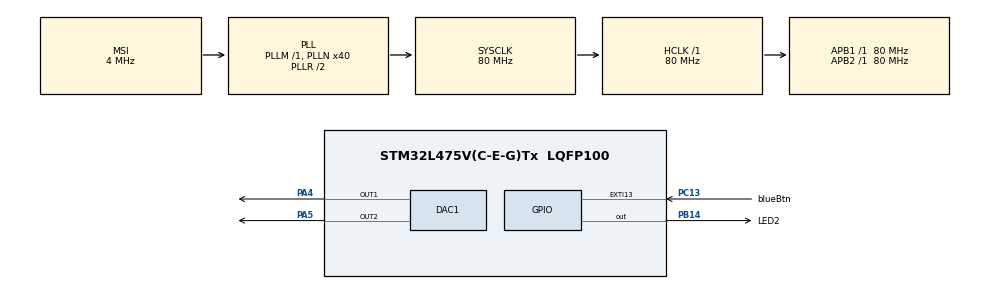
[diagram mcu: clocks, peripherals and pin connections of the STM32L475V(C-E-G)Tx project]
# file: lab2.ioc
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ADC1.Channel-1\#ChannelRegularConversion=ADC_CHANNEL_VREFINT
ADC1.NbrOfConversionFlag=1
ADC1.OffsetNumber-1\#ChannelRegularConversion=ADC_OFFSET_NONE
ADC1.Rank-1\#ChannelRegularConversion=1
ADC1.SamplingTime-1\#ChannelRegularConversion=ADC_SAMPLETIME_640CYCLES_5
ADC1.master=1
ADC3.Channel-0\#ChannelRegularConversion=ADC_CHANNEL_TEMPSENSOR
ADC3.NbrOfConversionFlag=1
ADC3.OffsetNumber-0\#ChannelRegularConversion=ADC_OFFSET_NONE
ADC3.Rank-0\#ChannelRegularConversion=1
ADC3.SamplingTime-0\#ChannelRegularConversion=ADC_SAMPLETIME_640CYCLES_5
DAC1.DAC_Channel-DAC_OUT2=DAC_CHANNEL_2
Mcu.Family=STM32L4
Mcu.Name=STM32L475V(C-E-G)Tx
Mcu.Package=LQFP100
NVIC.PriorityGroup=NVIC_PRIORITYGROUP_4
PA13\ (JTMS-SWDIO).Signal=SYS_JTMS-SWDIO
PA4.Signal=COMP_DAC11_group
PA5.Signal=COMP_DAC12_group
PB14.GPIO_Label=LED2
PB14.Signal=GPIO_Output
PB3\ (JTDO-TRACESWO).Signal=SYS_JTDO-SWO
PC13.GPIO_Label=blueBtn
PC13.Signal=GPXTI13
ProjectManager.HeapSize=0x200
ProjectManager.StackSize=0x400
ProjectManager.TargetToolchain=STM32CubeIDE
RCC.ADCFreq_Value=48000000
RCC.AHBFreq_Value=80000000
RCC.APB1Freq_Value=80000000
RCC.APB1TimFreq_Value=80000000
RCC.APB2Freq_Value=80000000
RCC.APB2TimFreq_Value=80000000
RCC.CortexFreq_Value=80000000
RCC.HCLKFreq_Value=80000000
RCC.HSE_VALUE=8000000
RCC.HSI_VALUE=16000000
RCC.LSE_VALUE=32768
RCC.MSI_VALUE=4000000
RCC.PLLN=40
RCC.PLLSAI1N=24
RCC.SYSCLKFreq_VALUE=80000000
RCC.SYSCLKSource=RCC_SYSCLKSOURCE_PLLCLK
RCC.USBFreq_Value=48000000
RCC.VCOOutputFreq_Value=160000000
SH.COMP_DAC11_group.0=DAC1_OUT1,DAC_OUT1
SH.COMP_DAC12_group.0=DAC1_OUT2,DAC_OUT2
VP_ADC1_Vref_Input.Mode=IN-Vrefint
VP_ADC3_TempSens_Input.Mode=IN-TempSens
board=B-L475E-IOT01A1

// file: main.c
/* USER CODE BEGIN Header */
/**
  ******************************************************************************
  * @file           : main.c
  * @brief          : Main program body
  ******************************************************************************
  * @attention
  *
  * Copyright (c) 2023 STMicroelectronics.
  * All rights reserved.
  *
  * This software is licensed under terms that can be found in the LICENSE file
  * in the root directory of this software component.
  * If no LICENSE file comes with this software, it is provided AS-IS.
  *
  ******************************************************************************
  */
/* USER CODE END Header */
#include "main.h"

/* USER CODE BEGIN Includes */
#define ARM_MATH_CM4
#include "arm_math.h"

/* USER CODE END Includes */

/* USER CODE BEGIN PD */
#define ITM_Port32(n) (*((volatile unsigned long *) (0xE0000000+4*n)))
/* USER CODE END PD */

ADC_HandleTypeDef hadc1;
ADC_HandleTypeDef hadc3;

DAC_HandleTypeDef hdac1;

/* USER CODE BEGIN PV */
	//private variable
	int triangle;
	int flag_tri = 1;
	int saw;
	int flag_saw = 1;
	int sine;
	float sample = 0;
	float pi = 3.1415926535;
	float temperatureC;
	float temp;
	int pressCount = 0;
	int flag_LED = 0;

	float playTemperature();
	void playSine();
	void playSaw();
	void playSaw_for();
	void playTriangle();
	void playSaw_Temperature(float temp);
/* USER CODE END PV */

void SystemClock_Config(void);
void PeriphCommonClock_Config(void);
static void MX_GPIO_Init(void);
static void MX_DAC1_Init(void);
static void MX_ADC1_Init(void);
static void MX_ADC3_Init(void);

int main(void)
{

  /* MCU Configuration--------------------------------------------------------*/

  /* Reset of all peripherals, Initializes the Flash interface and the Systick. */
  HAL_Init();

  /* Configure the system clock */
  SystemClock_Config();

/* Configure the peripherals common clocks */
  PeriphCommonClock_Config();

  /* Initialize all configured peripherals */
  MX_GPIO_Init();
  MX_DAC1_Init();
  MX_ADC1_Init();
  MX_ADC3_Init();
  /* USER CODE BEGIN 2 */
  //float temperatureC;
  /* USER CODE END 2 */

  /* Infinite loop */
  while (1)
  {

    /* USER CODE BEGIN 3 */
//	  part 1
// 	  default on
//	  if(HAL_GPIO_ReadPin (blueBtn_GPIO_Port, blueBtn_Pin)== 0){
//		  HAL_GPIO_WritePin (LED2_GPIO_Port, LED2_Pin, GPIO_PIN_SET);
//	  } else {
//		  HAL_GPIO_WritePin (LED2_GPIO_Port, LED2_Pin, GPIO_PIN_RESET);
//	  }

//////////////////////////////////////////////////////////////////////////////////////////////
	  //part 2:
//	  int flag_tri = 1;
//	  int flag_saw = 1;
//	  HAL_DAC_Start(&hdac1, DAC_CHANNEL_1);
//	  HAL_DAC_Start(&hdac1, DAC_CHANNEL_2);
//	  while(1){
//		  //Triangle
//		  if(flag_tri == 1){
//			  triangle += 200;
//			  HAL_DAC_SetValue(&hdac1, DAC_CHANNEL_1, DAC_ALIGN_12B_R, triangle);
//			  if(triangle >= 2000){
//				  flag_tri = 0;
//			  }
//		  } else if(flag_tri == 0){
//			  triangle -= 200;
//			  HAL_DAC_SetValue(&hdac1, DAC_CHANNEL_1, DAC_ALIGN_12B_R, triangle);
//			  if(triangle <= 0){
//				  flag_tri = 1;
//			  }
//		  }
//
//		  //Saw
//		  if(flag_saw == 1){
//		  	  saw += 100;
//		  	  HAL_DAC_SetValue(&hdac1, DAC_CHANNEL_2, DAC_ALIGN_12B_R, saw);
//		  	  if(saw >= 2000){
//		  		  flag_saw = 0;
//		  	  }
//		  } else if(flag_saw == 0){
//			  saw = 0;
//		  	  HAL_DAC_SetValue(&hdac1, DAC_CHANNEL_2, DAC_ALIGN_12B_R, saw);
//		  	  flag_saw = 1;
//		  }
//		  //Dummy Delay
//		  ITM_Port32(31) = 1;
//		  for(int i = 0; i <= 400; i++){
//
//		  }
//		  ITM_Port32(31) = 2;

		  //sine
//		  float sample = 0;
//		  for(int j = 0; j < 20; j++){
//			  sine = 2000*(1+arm_sin_f32(2*pi*sample));
//		  	  HAL_DAC_SetValue(&hdac1, DAC_CHANNEL_2, DAC_ALIGN_12B_R, sine);
//		  	  sample += 0.05;
//		  	  //HAL_Delay(1);
//			  //Dummy Delay
//			  for(int i = 0; i <= 400; i++){
//
//			  }
//		  }
//	  }
//////////////////////////////////////////////////////////////////////////////////////////////
	  //Part 3
//	  for(int i = 0; i<=10000; i++){
//
//	  }
//	  float VREF;
//	  int TS_data;
//	  int VREFINT = *VREFINT_CAL_ADDR ;
//	  float VMeasured;
//	  int TS_Measured;
//	  int TS_CAL1 = *TEMPSENSOR_CAL1_ADDR;
//	  int TS_CAL2 = *TEMPSENSOR_CAL2_ADDR;
//
//	  // get VREF
//	  HAL_ADC_Start(&hadc1);
//	  HAL_ADC_PollForConversion(&hadc1, 200);
//	  VMeasured = HAL_ADC_GetValue(&hadc1);
//	  VREF = 3000.0 *(float)VREFINT / VMeasured;
//
//	  //get TS_DATA
//	  HAL_ADC_Start(&hadc3);
//	  HAL_ADC_PollForConversion(&hadc3, 200);
//	  TS_Measured = HAL_ADC_GetValue(&hadc3);
//	  TS_data = (TS_Measured * VREF)/3000;
//
//	  float diff = TS_data - TS_CAL1;
//	  float nume = 110 - 30;
//	  float denom = TS_CAL2 - TS_CAL1;
//
//	  temperatureC = (nume/denom)*diff + 30.0;
//
//	  HAL_ADC_Stop(&hadc1);
//	  HAL_ADC_Stop(&hadc3);
//////////////////////////////////////////////////////////////////////////////////////////////
//Part 4
//Default: Play a fixed sound: saw
	  /*First while: Default, play saw*/
	  HAL_DAC_Start(&hdac1, DAC_CHANNEL_1);
	  pressCount == 0;
	  while(pressCount == 0){
		  playSaw();
		  if(HAL_GPIO_ReadPin(LED2_GPIO_Port, LED2_Pin) == 1){
			pressCount++;
			break;//break the first while loop, go to the second, in which the light is on.
		  }
	  }
	  /*First while end*/

	  /*Second while: LED2 is on, do temperature*/
	  while(HAL_GPIO_ReadPin (LED2_GPIO_Port, LED2_Pin) == 1){
		  temp = playTemperature();
		  if(HAL_GPIO_ReadPin (LED2_GPIO_Port, LED2_Pin) == 0){
			  break;
		  }
		  playSaw_Temperature(temp);
		  if(HAL_GPIO_ReadPin (LED2_GPIO_Port, LED2_Pin) == 0){
			  break;
		  }

	  }
	  /*Second while end*/

	  /*Third while: LED2 is off, play three sounds*/
	  while(HAL_GPIO_ReadPin (LED2_GPIO_Port, LED2_Pin) == 0){
		  /*First sound loop begin: play triangle*/
		  playTriangle();
		  /*First sound loop end*/

		  if(HAL_GPIO_ReadPin (LED2_GPIO_Port, LED2_Pin) == 1){
			  break; //break the third while loop, should go back to the second
		  }
		  /*Third while: could be ending here*/

		  /*Second sound loop begin: play sawtooth*/
		  playSaw_for();
		  /*Second sound loop end*/

		  if(HAL_GPIO_ReadPin (LED2_GPIO_Port, LED2_Pin) == 1){
			  break; //break the third while loop, should go back to the second
		  }
		  /*Third while: could be ending here*/

		  /*Third sound loop begin: play sine*/
		  playSine();
		  /*Third sound loop end*/
		  if(HAL_GPIO_ReadPin (LED2_GPIO_Port, LED2_Pin) == 1){
			  break; //break the third while loop, should go back to the second
		  }
		  /*Third while: could be ending here*/
	  }
	  /*Third while end*/
  }
  /* USER CODE END 3 */
}

void SystemClock_Config(void)
{
  RCC_OscInitTypeDef RCC_OscInitStruct = {0};
  RCC_ClkInitTypeDef RCC_ClkInitStruct = {0};

  /** Configure the main internal regulator output voltage
  */
  if (HAL_PWREx_ControlVoltageScaling(PWR_REGULATOR_VOLTAGE_SCALE1) != HAL_OK)
  {
    Error_Handler();
  }

  /** Initializes the RCC Oscillators according to the specified parameters
  * in the RCC_OscInitTypeDef structure.
  */
  RCC_OscInitStruct.OscillatorType = RCC_OSCILLATORTYPE_MSI;
  RCC_OscInitStruct.MSIState = RCC_MSI_ON;
  RCC_OscInitStruct.MSICalibrationValue = 0;
  RCC_OscInitStruct.MSIClockRange = RCC_MSIRANGE_6;
  RCC_OscInitStruct.PLL.PLLState = RCC_PLL_ON;
  RCC_OscInitStruct.PLL.PLLSource = RCC_PLLSOURCE_MSI;
  RCC_OscInitStruct.PLL.PLLM = 1;
  RCC_OscInitStruct.PLL.PLLN = 40;
  RCC_OscInitStruct.PLL.PLLP = RCC_PLLP_DIV7;
  RCC_OscInitStruct.PLL.PLLQ = RCC_PLLQ_DIV2;
  RCC_OscInitStruct.PLL.PLLR = RCC_PLLR_DIV2;
  if (HAL_RCC_OscConfig(&RCC_OscInitStruct) != HAL_OK)
  {
    Error_Handler();
  }

  /** Initializes the CPU, AHB and APB buses clocks
  */
  RCC_ClkInitStruct.ClockType = RCC_CLOCKTYPE_HCLK|RCC_CLOCKTYPE_SYSCLK
                              |RCC_CLOCKTYPE_PCLK1|RCC_CLOCKTYPE_PCLK2;
  RCC_ClkInitStruct.SYSCLKSource = RCC_SYSCLKSOURCE_PLLCLK;
  RCC_ClkInitStruct.AHBCLKDivider = RCC_SYSCLK_DIV1;
  RCC_ClkInitStruct.APB1CLKDivider = RCC_HCLK_DIV1;
  RCC_ClkInitStruct.APB2CLKDivider = RCC_HCLK_DIV1;

  if (HAL_RCC_ClockConfig(&RCC_ClkInitStruct, FLASH_LATENCY_4) != HAL_OK)
  {
    Error_Handler();
  }
}

void PeriphCommonClock_Config(void)
{
  RCC_PeriphCLKInitTypeDef PeriphClkInit = {0};

  /** Initializes the peripherals clock
  */
  PeriphClkInit.PeriphClockSelection = RCC_PERIPHCLK_ADC;
  PeriphClkInit.AdcClockSelection = RCC_ADCCLKSOURCE_PLLSAI1;
  PeriphClkInit.PLLSAI1.PLLSAI1Source = RCC_PLLSOURCE_MSI;
  PeriphClkInit.PLLSAI1.PLLSAI1M = 1;
  PeriphClkInit.PLLSAI1.PLLSAI1N = 24;
  PeriphClkInit.PLLSAI1.PLLSAI1P = RCC_PLLP_DIV7;
  PeriphClkInit.PLLSAI1.PLLSAI1Q = RCC_PLLQ_DIV2;
  PeriphClkInit.PLLSAI1.PLLSAI1R = RCC_PLLR_DIV2;
  PeriphClkInit.PLLSAI1.PLLSAI1ClockOut = RCC_PLLSAI1_ADC1CLK;
  if (HAL_RCCEx_PeriphCLKConfig(&PeriphClkInit) != HAL_OK)
  {
    Error_Handler();
  }
}

static void MX_ADC1_Init(void)
{

  ADC_MultiModeTypeDef multimode = {0};
  ADC_ChannelConfTypeDef sConfig = {0};

  /** Common config
  */
  hadc1.Instance = ADC1;
  hadc1.Init.ClockPrescaler = ADC_CLOCK_ASYNC_DIV1;
  hadc1.Init.Resolution = ADC_RESOLUTION_12B;
  hadc1.Init.DataAlign = ADC_DATAALIGN_RIGHT;
  hadc1.Init.ScanConvMode = ADC_SCAN_DISABLE;
  hadc1.Init.EOCSelection = ADC_EOC_SINGLE_CONV;
  hadc1.Init.LowPowerAutoWait = DISABLE;
  hadc1.Init.ContinuousConvMode = DISABLE;
  hadc1.Init.NbrOfConversion = 1;
  hadc1.Init.DiscontinuousConvMode = DISABLE;
  hadc1.Init.ExternalTrigConv = ADC_SOFTWARE_START;
  hadc1.Init.ExternalTrigConvEdge = ADC_EXTERNALTRIGCONVEDGE_NONE;
  hadc1.Init.DMAContinuousRequests = DISABLE;
  hadc1.Init.Overrun = ADC_OVR_DATA_PRESERVED;
  hadc1.Init.OversamplingMode = DISABLE;
  if (HAL_ADC_Init(&hadc1) != HAL_OK)
  {
    Error_Handler();
  }

  /** Configure the ADC multi-mode
  */
  multimode.Mode = ADC_MODE_INDEPENDENT;
  if (HAL_ADCEx_MultiModeConfigChannel(&hadc1, &multimode) != HAL_OK)
  {
    Error_Handler();
  }

  /** Configure Regular Channel
  */
  sConfig.Channel = ADC_CHANNEL_VREFINT;
  sConfig.Rank = ADC_REGULAR_RANK_1;
  sConfig.SamplingTime = ADC_SAMPLETIME_640CYCLES_5;
  sConfig.SingleDiff = ADC_SINGLE_ENDED;
  sConfig.OffsetNumber = ADC_OFFSET_NONE;
  sConfig.Offset = 0;
  if (HAL_ADC_ConfigChannel(&hadc1, &sConfig) != HAL_OK)
  {
    Error_Handler();
  }

}

static void MX_ADC3_Init(void)
{

  ADC_ChannelConfTypeDef sConfig = {0};

  /** Common config
  */
  hadc3.Instance = ADC3;
  hadc3.Init.ClockPrescaler = ADC_CLOCK_ASYNC_DIV1;
  hadc3.Init.Resolution = ADC_RESOLUTION_12B;
  hadc3.Init.DataAlign = ADC_DATAALIGN_RIGHT;
  hadc3.Init.ScanConvMode = ADC_SCAN_DISABLE;
  hadc3.Init.EOCSelection = ADC_EOC_SINGLE_CONV;
  hadc3.Init.LowPowerAutoWait = DISABLE;
  hadc3.Init.ContinuousConvMode = DISABLE;
  hadc3.Init.NbrOfConversion = 1;
  hadc3.Init.DiscontinuousConvMode = DISABLE;
  hadc3.Init.ExternalTrigConv = ADC_SOFTWARE_START;
  hadc3.Init.ExternalTrigConvEdge = ADC_EXTERNALTRIGCONVEDGE_NONE;
  hadc3.Init.DMAContinuousRequests = DISABLE;
  hadc3.Init.Overrun = ADC_OVR_DATA_PRESERVED;
  hadc3.Init.OversamplingMode = DISABLE;
  if (HAL_ADC_Init(&hadc3) != HAL_OK)
  {
    Error_Handler();
  }

  /** Configure Regular Channel
  */
  sConfig.Channel = ADC_CHANNEL_TEMPSENSOR;
  sConfig.Rank = ADC_REGULAR_RANK_1;
  sConfig.SamplingTime = ADC_SAMPLETIME_640CYCLES_5;
  sConfig.SingleDiff = ADC_SINGLE_ENDED;
  sConfig.OffsetNumber = ADC_OFFSET_NONE;
  sConfig.Offset = 0;
  if (HAL_ADC_ConfigChannel(&hadc3, &sConfig) != HAL_OK)
  {
    Error_Handler();
  }

}

static void MX_DAC1_Init(void)
{

  DAC_ChannelConfTypeDef sConfig = {0};

  /** DAC Initialization
  */
  hdac1.Instance = DAC1;
  if (HAL_DAC_Init(&hdac1) != HAL_OK)
  {
    Error_Handler();
  }

  /** DAC channel OUT1 config
  */
  sConfig.DAC_SampleAndHold = DAC_SAMPLEANDHOLD_DISABLE;
  sConfig.DAC_Trigger = DAC_TRIGGER_NONE;
  sConfig.DAC_OutputBuffer = DAC_OUTPUTBUFFER_ENABLE;
  sConfig.DAC_ConnectOnChipPeripheral = DAC_CHIPCONNECT_DISABLE;
  sConfig.DAC_UserTrimming = DAC_TRIMMING_FACTORY;
  if (HAL_DAC_ConfigChannel(&hdac1, &sConfig, DAC_CHANNEL_1) != HAL_OK)
  {
    Error_Handler();
  }

  /** DAC channel OUT2 config
  */
  if (HAL_DAC_ConfigChannel(&hdac1, &sConfig, DAC_CHANNEL_2) != HAL_OK)
  {
    Error_Handler();
  }

}

static void MX_GPIO_Init(void)
{
  GPIO_InitTypeDef GPIO_InitStruct = {0};

  /* GPIO Ports Clock Enable */
  __HAL_RCC_GPIOC_CLK_ENABLE();
  __HAL_RCC_GPIOA_CLK_ENABLE();
  __HAL_RCC_GPIOB_CLK_ENABLE();

  /*Configure GPIO pin Output Level */
  HAL_GPIO_WritePin(LED2_GPIO_Port, LED2_Pin, GPIO_PIN_RESET);

  /*Configure GPIO pin : blueBtn_Pin */
  GPIO_InitStruct.Pin = blueBtn_Pin;
  GPIO_InitStruct.Mode = GPIO_MODE_IT_RISING;
  GPIO_InitStruct.Pull = GPIO_NOPULL;
  HAL_GPIO_Init(blueBtn_GPIO_Port, &GPIO_InitStruct);

  /*Configure GPIO pin : LED2_Pin */
  GPIO_InitStruct.Pin = LED2_Pin;
  GPIO_InitStruct.Mode = GPIO_MODE_OUTPUT_PP;
  GPIO_InitStruct.Pull = GPIO_NOPULL;
  GPIO_InitStruct.Speed = GPIO_SPEED_FREQ_LOW;
  HAL_GPIO_Init(LED2_GPIO_Port, &GPIO_InitStruct);

}

/* USER CODE BEGIN 4 */
	float playTemperature(){
		/*Detect begin*/
		while((HAL_GPIO_ReadPin (blueBtn_GPIO_Port, blueBtn_Pin) == 0)){
			HAL_GPIO_WritePin(LED2_GPIO_Port, LED2_Pin, 0);
			if((HAL_GPIO_ReadPin (blueBtn_GPIO_Port, blueBtn_Pin) == 1 )){
				HAL_GPIO_WritePin(LED2_GPIO_Port, LED2_Pin, 0);
				break;
			}
		}
		if(HAL_GPIO_ReadPin (LED2_GPIO_Port, LED2_Pin) == 0){
		    HAL_ADC_Stop(&hadc1);
		    HAL_ADC_Stop(&hadc3);
		    return 0.0;
		}
		/*Detect end*/

//		if(HAL_GPIO_ReadPin (blueBtn_GPIO_Port, blueBtn_Pin) == 0&& HAL_GPIO_ReadPin (LED2_GPIO_Port, LED2_Pin) == 1){
//		    HAL_GPIO_WritePin(LED2_GPIO_Port, LED2_Pin, 0);
//		    HAL_ADC_Stop(&hadc1);
//		    HAL_ADC_Stop(&hadc3);
//		    return 0.0;
//		}
		float VREF;
		int TS_data;
		int VREFINT = *VREFINT_CAL_ADDR ;
		float VMeasured;
		int TS_Measured;
		int TS_CAL1 = *TEMPSENSOR_CAL1_ADDR;
		int TS_CAL2 = *TEMPSENSOR_CAL2_ADDR;

		// get VREF
		HAL_ADC_Start(&hadc1);
		HAL_ADC_PollForConversion(&hadc1, 200);
		VMeasured = HAL_ADC_GetValue(&hadc1);
		VREF = 3000.0 *(float)VREFINT / VMeasured;

		//get TS_DATA
		HAL_ADC_Start(&hadc3);
		HAL_ADC_PollForConversion(&hadc3, 200);
		TS_Measured = HAL_ADC_GetValue(&hadc3);
		TS_data = (TS_Measured * VREF)/3000;

		float diff = TS_data - TS_CAL1;
		float nume = 110 - 30;
		float denom = TS_CAL2 - TS_CAL1;

		temperatureC = (nume/denom)*diff + 30.0;

		return temperatureC;
	}

	void playTriangle(){
		flag_LED = 0;
		for(int i =0; i <= 10000; i++){
			/*Detect begin*/
			while((HAL_GPIO_ReadPin (blueBtn_GPIO_Port, blueBtn_Pin) == 0)){
				HAL_GPIO_WritePin(LED2_GPIO_Port, LED2_Pin, 1);
				if((HAL_GPIO_ReadPin (blueBtn_GPIO_Port, blueBtn_Pin) == 1 )){
					HAL_GPIO_WritePin(LED2_GPIO_Port, LED2_Pin, 1);
					break;
				}
			}
			if(HAL_GPIO_ReadPin (LED2_GPIO_Port, LED2_Pin) == 1){
				break; //break sound loop
			}
			/*Detect end*/
			if(flag_tri == 1){
				triangle += 200;
				HAL_DAC_SetValue(&hdac1, DAC_CHANNEL_1, DAC_ALIGN_12B_R, triangle);
				if(triangle >= 2000){
					flag_tri = 0;
				}
			} else if(flag_tri == 0){
				triangle -= 200;
				HAL_DAC_SetValue(&hdac1, DAC_CHANNEL_1, DAC_ALIGN_12B_R, triangle);
				if(triangle <= 0){
					flag_tri = 1;
				}
			}
			//Dummy Delay
			for(int i = 0; i <= 400; i++){
//				if(HAL_GPIO_ReadPin (blueBtn_GPIO_Port, blueBtn_Pin) == 0){
//					flag_LED = 1;
//					break; //break sound loop
//				}
			}
		}

	}

	void playSaw(){
		flag_LED = 0;
		while(1){
			/*Detect begin*/
			while((HAL_GPIO_ReadPin (blueBtn_GPIO_Port, blueBtn_Pin) == 0)){
				HAL_GPIO_WritePin(LED2_GPIO_Port, LED2_Pin, 1);
				if((HAL_GPIO_ReadPin (blueBtn_GPIO_Port, blueBtn_Pin) == 1 )){
					HAL_GPIO_WritePin(LED2_GPIO_Port, LED2_Pin, 1);
					break;
				}
			}
			if(HAL_GPIO_ReadPin (LED2_GPIO_Port, LED2_Pin)== 1){
				break; //break sound loop
			}
			/*Detect end*/
			if(flag_saw == 1){
				saw += 100;
				HAL_DAC_SetValue(&hdac1, DAC_CHANNEL_1, DAC_ALIGN_12B_R, saw);
				if(saw >= 2000){
					flag_saw = 0;
				}
			} else if(flag_saw == 0){
				saw = 0;
				HAL_DAC_SetValue(&hdac1, DAC_CHANNEL_1, DAC_ALIGN_12B_R, saw);
				flag_saw = 1;
			}
			//Dummy Delay
			for(int i = 0; i <= 400; i++){
//				if(HAL_GPIO_ReadPin (blueBtn_GPIO_Port, blueBtn_Pin) == 0){
//					flag_LED = 1;
//					break; //break sound loop
//				}
			}
		}

	}

	void playSaw_for(){
		flag_LED = 0;
		for(int i = 0; i <= 20000; i++){
			/*Detect begin*/
			while((HAL_GPIO_ReadPin (blueBtn_GPIO_Port, blueBtn_Pin) == 0)){
				HAL_GPIO_WritePin(LED2_GPIO_Port, LED2_Pin, 1);
				if((HAL_GPIO_ReadPin (blueBtn_GPIO_Port, blueBtn_Pin) == 1 )){
					HAL_GPIO_WritePin(LED2_GPIO_Port, LED2_Pin, 1);
					break;
				}
			}
			if(HAL_GPIO_ReadPin (LED2_GPIO_Port, LED2_Pin) == 1){
				break; //break sound loop
			}
			/*Detect end*/
			if(flag_saw == 1){
				saw += 100;
				HAL_DAC_SetValue(&hdac1, DAC_CHANNEL_1, DAC_ALIGN_12B_R, saw);
				if(saw >= 2000){
					flag_saw = 0;
				}
			} else if(flag_saw == 0){
				saw = 0;
				HAL_DAC_SetValue(&hdac1, DAC_CHANNEL_1, DAC_ALIGN_12B_R, saw);
				flag_saw = 1;
			}
			//Dummy Delay
			for(int i = 0; i <= 400; i++){
//				if(HAL_GPIO_ReadPin (blueBtn_GPIO_Port, blueBtn_Pin) == 0){
//					flag_LED = 1;
//					break; //break sound loop
//				}
			}
		}
	}

	void playSaw_Temperature(float temp){
		flag_LED = 0;
		for(int i = 0; i <= 20000; i++){
			/*Detect begin*/
			while((HAL_GPIO_ReadPin (blueBtn_GPIO_Port, blueBtn_Pin) == 0)){
				HAL_GPIO_WritePin(LED2_GPIO_Port, LED2_Pin, 0);
				if((HAL_GPIO_ReadPin (blueBtn_GPIO_Port, blueBtn_Pin) == 1 )){
					HAL_GPIO_WritePin(LED2_GPIO_Port, LED2_Pin, 0);
					break;
				}
			}
			if(HAL_GPIO_ReadPin (LED2_GPIO_Port, LED2_Pin == 1)){
				break; //break sound loop
			}
			/*Detect end*/
			if(flag_saw == 1){
				saw += 100;
				HAL_DAC_SetValue(&hdac1, DAC_CHANNEL_1, DAC_ALIGN_12B_R, saw);
				if(saw >= 2000){
					flag_saw = 0;
				}
			} else if(flag_saw == 0){
				saw = 0;
				HAL_DAC_SetValue(&hdac1, DAC_CHANNEL_1, DAC_ALIGN_12B_R, saw);
				flag_saw = 1;
			}
			//Dummy Delay
			for(int i = 0; i <= 12*temp; i++){
//				if(HAL_GPIO_ReadPin (blueBtn_GPIO_Port, blueBtn_Pin) == 0){
//					flag_LED = 1;
//					break; //break sound loop
//				}
			}
		}
	}

	void playSine(){
		for(int i = 0; i <= 900; i++){
			/*Detect begin*/
			while((HAL_GPIO_ReadPin (blueBtn_GPIO_Port, blueBtn_Pin) == 0)){
				HAL_GPIO_WritePin(LED2_GPIO_Port, LED2_Pin, 1);
				if((HAL_GPIO_ReadPin (blueBtn_GPIO_Port, blueBtn_Pin) == 1 )){
					HAL_GPIO_WritePin(LED2_GPIO_Port, LED2_Pin, 1);
					break;
				}
			}
			if(HAL_GPIO_ReadPin (LED2_GPIO_Port, LED2_Pin == 1)){
				break; //break sound loop
			}
			/*Detect end*/
			for(int j = 0; j < 20; j++){
				/*Detect begin*/
				while((HAL_GPIO_ReadPin (blueBtn_GPIO_Port, blueBtn_Pin) == 0)){
					HAL_GPIO_WritePin(LED2_GPIO_Port, LED2_Pin, 1);
					if((HAL_GPIO_ReadPin (blueBtn_GPIO_Port, blueBtn_Pin) == 1 )){
						HAL_GPIO_WritePin(LED2_GPIO_Port, LED2_Pin, 1);
						break;
					}
				}
				if(HAL_GPIO_ReadPin (LED2_GPIO_Port, LED2_Pin == 1)){
					break; //break sound loop
				}
				/*Detect end*/
				sine = 2000*(1+arm_sin_f32(2*pi*sample));
				HAL_DAC_SetValue(&hdac1, DAC_CHANNEL_1, DAC_ALIGN_12B_R, sine);
				sample += 0.05;
				//Dummy Delay
				for(int i = 0; i <= 320; i++){
//					if(flag_LED == 1){
//						break;
//					}
				}
			}
		}

	}

/* USER CODE END 4 */

void Error_Handler(void)
{
  __disable_irq();
  while (1)
  {
  }
}
